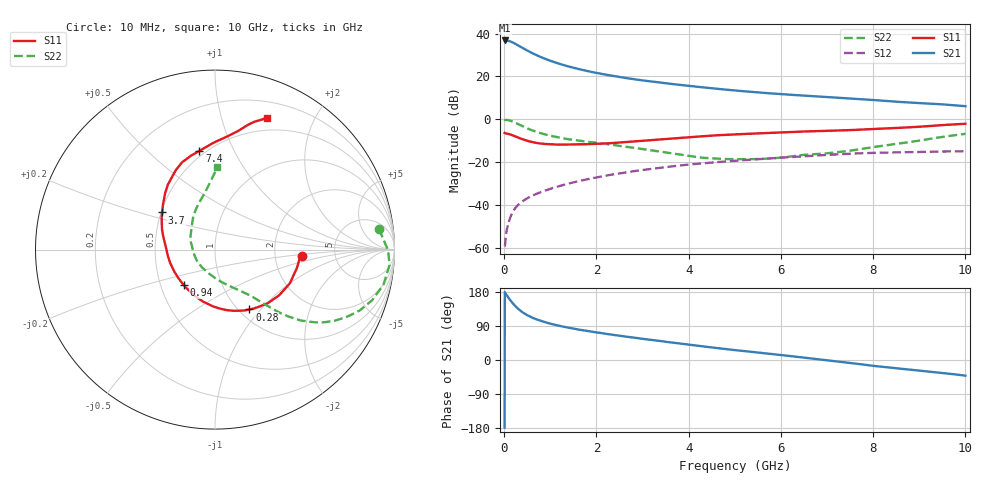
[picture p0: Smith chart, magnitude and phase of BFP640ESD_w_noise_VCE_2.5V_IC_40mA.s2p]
! Infineon Technologies  Discrete & RF Semiconductors
! BFP640ESD
! VCE =  2.5 V,  IC =  40 mA
! Common Emitter S-Parameters:  Jan 2016
# GHz  S  MA  R  50
!  f  S11  S21  S12  S22
! GHz  MAG  ANG  MAG  ANG  MAG  ANG  MAG  ANG
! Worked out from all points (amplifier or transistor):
!   233 points, 10 MHz to 10 GHz, reference 50 ohm
!   highest |S21| = 36.8 dB at 20 MHz (marker M1)
!   |S21| within 3 dB of that: start of sweep to 360 MHz
!   unconditionally stable (mu >= 1): 2.219333 GHz to 2.223062 GHz; 2.243 GHz to 6.966 GHz
!   at 200 MHz: K = 0.31, MSG = 39.2 dB, |S12| = -42.7 dB
!   at 1.74 GHz: K = 0.97, MSG = 25.5 dB, |S12| = -28.2 dB
!   at 10 GHz: K = 0.89, MSG = 10.5 dB, |S12| = -14.9 dB
!   lowest NFmin = 1.27 dB at 450 MHz
!   S11 on the Smith chart (normalised r, x): 10 MHz: 2.85, -0.25; 280 MHz: 1.11, -0.87; 940 MHz: 0.66, -0.28; 3.7 GHz: 0.51, +0.24; 7.4 GHz: 0.47, +0.74; 10 GHz: 0.36, +1.41
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0.01  0.4838 -4.0  68.99 -178.7  0.0011 99.1  0.921 7.1
0.02  0.475 -5.8  69.28 177.3  0.0012 93.9  0.964 -0.2
0.05  0.4677 -12.8  69.09 171.6  0.0024 87.4  0.9763 -5.0
0.1  0.4572 -24.4  67.85 163.2  0.004 82.1  0.9587 -11.8
0.15  0.4389 -35.4  64.85 155.0  0.0057 78.1  0.9203 -17.8
0.2  0.4189 -45.5  61.28 147.7  0.0073 75.0  0.874 -22.9
0.28  0.3845 -60.1  54.88 137.7  0.0095 71.2  0.795 -29.2
0.36  0.3559 -73.2  49.04 129.5  0.0114 69.2  0.7213 -34.2
0.44  0.3317 -84.2  43.78 122.7  0.0132 67.9  0.6571 -37.6
0.6  0.2975 -102.9  35.44 112.1  0.0163 66.7  0.5559 -42.2
0.78  0.2735 -119.2  28.84 103.8  0.0197 66.4  0.4797 -45.1
0.94  0.2635 -131.3  24.63 97.9  0.0228 66.4  0.4307 -46.9
1.22  0.2572 -147.7  19.45 89.5  0.0282 66.3  0.3708 -49.6
1.68  0.261 -166.6  14.37 79.0  0.0375 65.0  0.3122 -53.4
2.4  0.2823 172.6  10.12 65.7  0.0529 60.9  0.2502 -61.6
3.4  0.3404 150.8  7.159 49.9  0.0747 52.7  0.1765 -81.7
3.7  0.3598 144.9  6.567 45.3  0.0813 49.8  0.1574 -90.2
5.1  0.4513 124.9  4.615 24.9  0.1101 36.2  0.1179 -150.6
6.8  0.5315 106.7  3.413 2.1  0.1438 19.5  0.1557 151.0
7.4  0.5566 99.0  3.12 -6.4  0.1561 12.7  0.18 136.4
8.4  0.6215 85.7  2.627 -20.5  0.1686 0.8  0.258 112.9
10  0.7898 68.3  2.027 -41.3  0.1804 -15.0  0.4594 88.3
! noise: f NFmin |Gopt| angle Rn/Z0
0.45  1.27  0.26  -167  0.1
0.9  1.28  0.28  -162  0.09
1.9  1.31  0.3  -138  0.16
2.4  1.32  0.31  -132  0.13
5.5  1.54  0.48  -100  0.22
10  2.09  0.6  -72  0.97
